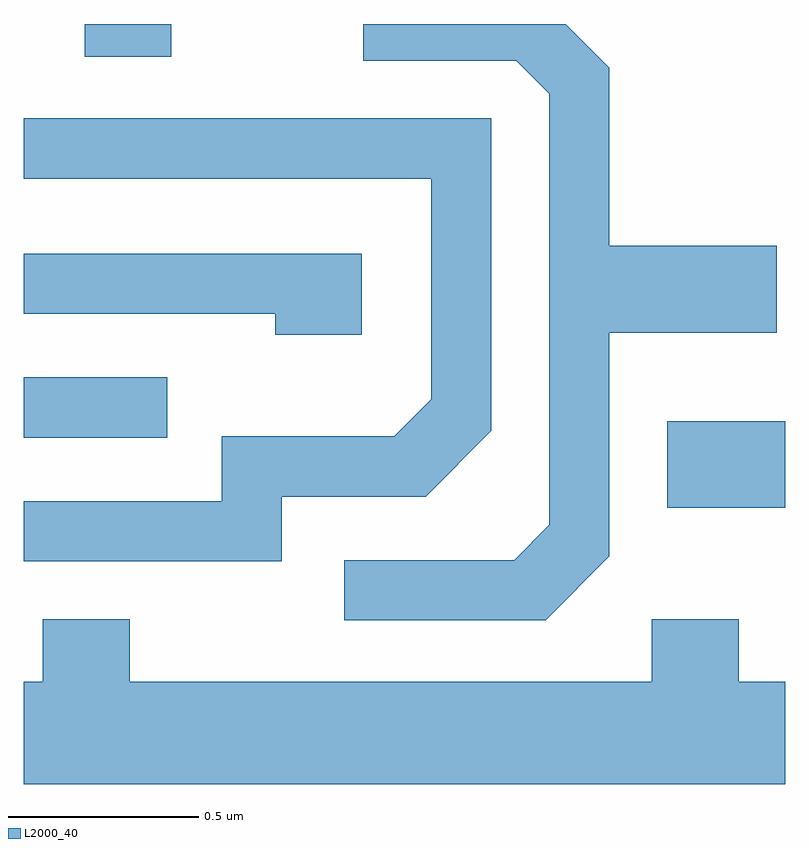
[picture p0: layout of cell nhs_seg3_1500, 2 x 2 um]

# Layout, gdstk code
import gdstk
lib = gdstk.Library(unit=1e-6, precision=1e-09)
def R(c, l, rs):  # rectangles x0, y0, x1, y1
    for r in rs: c.add(gdstk.rectangle(r[:2], r[2:], *l))
def P(c, l, *ps):  # polygons
    for p in ps: c.add(gdstk.Polygon(p, *l))
L2000_40 = (2000, 40)

nhs_seg3_1500 = lib.new_cell('nhs_seg3_1500')
R(nhs_seg3_1500, L2000_40, [(197.301,1246.621,197.611,1246.849), (195.611,1246.806,195.988,1246.964), (195.771,1247.806,195.999,1247.892)])
P(nhs_seg3_1500, L2000_40, [(197.149,1246.494),(197.149,1247.081),(197.589,1247.081),(197.589,1247.309),(197.149,1247.309),(197.149,1247.777),(197.034,1247.892),(196.503,1247.892),(196.503,1247.796),(196.904,1247.796),(196.991,1247.709),(196.991,1246.577),(196.899,1246.484),(196.453,1246.484),(196.453,1246.326),(196.982,1246.326)],
  [(196.289,1246.651),(196.667,1246.651),(196.839,1246.824),(196.839,1247.644),(195.611,1247.644),(195.611,1247.486),(196.681,1247.486),(196.681,1246.907),(196.584,1246.809),(196.131,1246.809),(196.131,1246.639),(195.611,1246.639),(195.611,1246.481),(196.289,1246.481)],
  [(196.499,1247.289),(195.611,1247.289),(195.611,1247.131),(196.271,1247.131),(196.271,1247.076),(196.499,1247.076)],
  [(197.611,1246.164),(197.489,1246.164),(197.489,1246.329),(197.261,1246.329),(197.261,1246.164),(195.889,1246.164),(195.889,1246.329),(195.661,1246.329),(195.661,1246.164),(195.611,1246.164),(195.611,1245.896),(197.611,1245.896)])

lib.write_gds('nhs_seg3_1500.gds')
